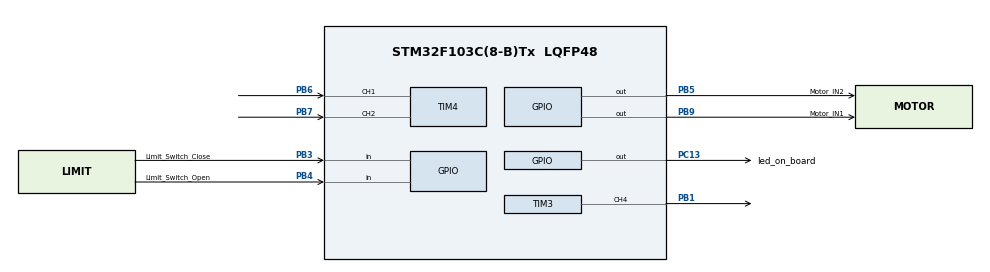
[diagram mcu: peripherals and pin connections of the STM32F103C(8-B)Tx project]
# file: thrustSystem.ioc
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Mcu.Family=STM32F1
PB7.GPIO_PuPd=GPIO_PULLUP
PB9.GPIO_Label=Motor_IN1
TIM3.AutoReloadPreload=TIM_AUTORELOAD_PRELOAD_ENABLE
PB6.GPIO_PuPd=GPIO_PULLUP
TIM4.EncoderMode=TIM_ENCODERMODE_TI12
PC13-TAMPER-RTC.Signal=GPIO_Output
TIM3.Channel-PWM\ Generation4\ CH4=TIM_CHANNEL_4
ProjectManager.StackSize=0x400
PA13.Signal=SYS_JTMS-SWDIO
ProjectManager.TargetToolchain=STM32CubeIDE
TIM3.Period=999
PB6.Signal=S_TIM4_CH1
PB4.GPIO_PuPd=GPIO_PULLUP
TIM4.IC2Polarity=TIM_ICPOLARITY_FALLING
board=custom
PC13-TAMPER-RTC.GPIO_Label=led_on_board
RCC.APB2Freq_Value=8000000
PB3.GPIO_PuPd=GPIO_PULLUP
PB4.GPIO_Label=Limit_Switch_Open
PA14.Mode=Serial_Wire
TIM3.Prescaler=7
SH.S_TIM4_CH2.0=TIM4_CH2,Encoder_Interface
PB7.Signal=S_TIM4_CH2
PA13.Mode=Serial_Wire
Mcu.Name=STM32F103C(8-B)Tx
PB3.Signal=GPIO_Input
PB9.Signal=GPIO_Output
PB5.Signal=GPIO_Output
Mcu.Package=LQFP48
PB1.Signal=S_TIM3_CH4
PA14.Signal=SYS_JTCK-SWCLK
ProjectManager.HeapSize=0x200
NVIC.PriorityGroup=NVIC_PRIORITYGROUP_4
PB5.GPIO_Label=Motor_IN2
SH.S_TIM4_CH1.0=TIM4_CH1,Encoder_Interface
RCC.APB1Freq_Value=8000000
VP_TIM3_VS_ClockSourceINT.Mode=Internal
PB4.Signal=GPIO_Input
SH.S_TIM3_CH4.0=TIM3_CH4,PWM Generation4 CH4
PB3.GPIO_Label=Limit_Switch_Close

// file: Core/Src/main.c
/* USER CODE BEGIN Header */
/**
  ******************************************************************************
  * @file           : main.c
  * @brief          : Main program body
  ******************************************************************************
  * @attention
  *
  * <h2><center>&copy; Copyright (c) 2021 STMicroelectronics.
  * All rights reserved.</center></h2>
  *
  * This software component is licensed by ST under BSD 3-Clause license,
  * the "License"; You may not use this file except in compliance with the
  * License. You may obtain a copy of the License at:
  *                        opensource.org/licenses/BSD-3-Clause
  *
  ******************************************************************************
  */
/* USER CODE END Header */
#include "main.h"
#include "tim.h"
#include "gpio.h"

/* USER CODE BEGIN Includes */
#include "valve_control.h"
#include "motor_control.h"
/* USER CODE END Includes */

/* USER CODE BEGIN PV */

uint8_t limit_switch_open_state;
uint8_t limit_switch_close_state;
int16_t enc = 0;

struct Valve v;
struct Motor m;
struct Valve * valve = &v;
struct Motor * motor = &m;

enum Direction {CLOSE = 0, OPEN = 1};
enum Direction direction = CLOSE;

enum State {VALVE, ZIGBEE};
enum State current_state = ZIGBEE;

/* USER CODE END PV */

void SystemClock_Config(void);
/* USER CODE BEGIN PFP */

void stateValve();
void stateZIGBEE();

/* USER CODE END PFP */

int main(void)
{

  /* MCU Configuration--------------------------------------------------------*/

  /* Reset of all peripherals, Initializes the Flash interface and the Systick. */
  HAL_Init();

  /* Configure the system clock */
  SystemClock_Config();

  /* Initialize all configured peripherals */
  MX_GPIO_Init();
  MX_TIM4_Init();
  MX_TIM3_Init();
  /* USER CODE BEGIN 2 */

  int8_t max_state = 12;
  int8_t encoder_tick = 2;

  // Alternatywna inicjalizacja silnika
  //uint16_t  motor_speed = 500; 500 - 50% wypelnienia
  //Motor_Init(motor_speed);

  Motor_Init_Default(motor,
		  Motor_IN1_GPIO_Port,
		  Motor_IN1_Pin,
		  Motor_IN2_GPIO_Port,
		  Motor_IN2_Pin);
  //Motor_Init(motor, (uint16_t)910);
  Valve_Init(valve, motor, max_state, encoder_tick);

  HAL_TIM_Encoder_Start(&htim4, TIM_CHANNEL_ALL);
  HAL_TIM_PWM_Start(&htim3, TIM_CHANNEL_4);

  /* USER CODE END 2 */

  /* Infinite loop */
  /* USER CODE BEGIN WHILE */
  while (1)
  {

	  //maszyna stanow
	  switch (current_state) {
	  	  case VALVE: {
	  		  stateValve();
	  	  }
	  	  break;
	  	  case ZIGBEE: {
	  		  stateZIGBEE();
	  	  }
	  	  break;
	  }
	  //Valve_Force_Close(valve);
	  /*
	  enc = TIM4->CNT;
	  if (enc > 0) {
		  limit_switch_close_state = HAL_GPIO_ReadPin(Limit_Switch_Close_GPIO_Port, Limit_Switch_Close_Pin);
		  limit_switch_open_state  = HAL_GPIO_ReadPin(Limit_Switch_Open_GPIO_Port, Limit_Switch_Open_Pin);

		  if (limit_switch_close_state == 0) {
			  direction = OPEN;
		  }

		  if (limit_switch_open_state == 0) {
			  direction = CLOSE;
			  //Motor_Stop();
		  }

		  if (direction == CLOSE) {
			  Valve_Close(valve);
		  }

		  if (direction == OPEN) {
			  Valve_Open(valve);
		  }
	  }
	  else {
		  Motor_Stop();
	  }
	  */
	  /*
	  if (limit_switch_close_state == 0) {
		  HAL_GPIO_WritePin(led_on_board_GPIO_Port, led_on_board_Pin, GPIO_PIN_RESET);
	  }
	  else {
		  HAL_GPIO_WritePin(led_on_board_GPIO_Port, led_on_board_Pin, GPIO_PIN_SET);
	  }

	  if (limit_switch_open_state == 0) {
		  HAL_GPIO_WritePin(led_on_board_GPIO_Port, led_on_board_Pin, GPIO_PIN_RESET);
	  }
	  else {
		  HAL_GPIO_WritePin(led_on_board_GPIO_Port, led_on_board_Pin, GPIO_PIN_SET);
	  }
	  */
    /* USER CODE END WHILE */

  }
}

void SystemClock_Config(void)
{
  RCC_OscInitTypeDef RCC_OscInitStruct = {0};
  RCC_ClkInitTypeDef RCC_ClkInitStruct = {0};

  /** Initializes the RCC Oscillators according to the specified parameters
  * in the RCC_OscInitTypeDef structure.
  */
  RCC_OscInitStruct.OscillatorType = RCC_OSCILLATORTYPE_HSI;
  RCC_OscInitStruct.HSIState = RCC_HSI_ON;
  RCC_OscInitStruct.HSICalibrationValue = RCC_HSICALIBRATION_DEFAULT;
  RCC_OscInitStruct.PLL.PLLState = RCC_PLL_NONE;
  if (HAL_RCC_OscConfig(&RCC_OscInitStruct) != HAL_OK)
  {
    Error_Handler();
  }
  /** Initializes the CPU, AHB and APB buses clocks
  */
  RCC_ClkInitStruct.ClockType = RCC_CLOCKTYPE_HCLK|RCC_CLOCKTYPE_SYSCLK
                              |RCC_CLOCKTYPE_PCLK1|RCC_CLOCKTYPE_PCLK2;
  RCC_ClkInitStruct.SYSCLKSource = RCC_SYSCLKSOURCE_HSI;
  RCC_ClkInitStruct.AHBCLKDivider = RCC_SYSCLK_DIV1;
  RCC_ClkInitStruct.APB1CLKDivider = RCC_HCLK_DIV1;
  RCC_ClkInitStruct.APB2CLKDivider = RCC_HCLK_DIV1;

  if (HAL_RCC_ClockConfig(&RCC_ClkInitStruct, FLASH_LATENCY_0) != HAL_OK)
  {
    Error_Handler();
  }
}

/* USER CODE BEGIN 4 */

void stateValve() {
	while (current_state == VALVE) {
		enc = TIM4->CNT;
		if (enc > 0) {
			limit_switch_close_state = HAL_GPIO_ReadPin(Limit_Switch_Close_GPIO_Port, Limit_Switch_Close_Pin);
			limit_switch_open_state  = HAL_GPIO_ReadPin(Limit_Switch_Open_GPIO_Port, Limit_Switch_Open_Pin);

			if (limit_switch_close_state == 0) {
				direction = OPEN;
			}

			if (limit_switch_open_state == 0) {
				direction = CLOSE;
			}

			if (direction == CLOSE) {
				Valve_Close(valve);
			}

			if (direction == OPEN) {
				Valve_Open(valve);
			}
		  }
		else {
			Motor_Stop(motor);
		}
	/*
	 	 if (cos co powie, ze trzeba zmienic stan) {
	 	 	 current_state = ZIGBEE;
	 	 }
	*/
	}
}

void stateZIGBEE() {
	while (current_state == ZIGBEE) {
		current_state = VALVE;
	}
}

/* USER CODE END 4 */

void Error_Handler(void)
{
  __disable_irq();
  while (1)
  {
  }
}

/************************ (C) COPYRIGHT STMicroelectronics *****END OF FILE****/
